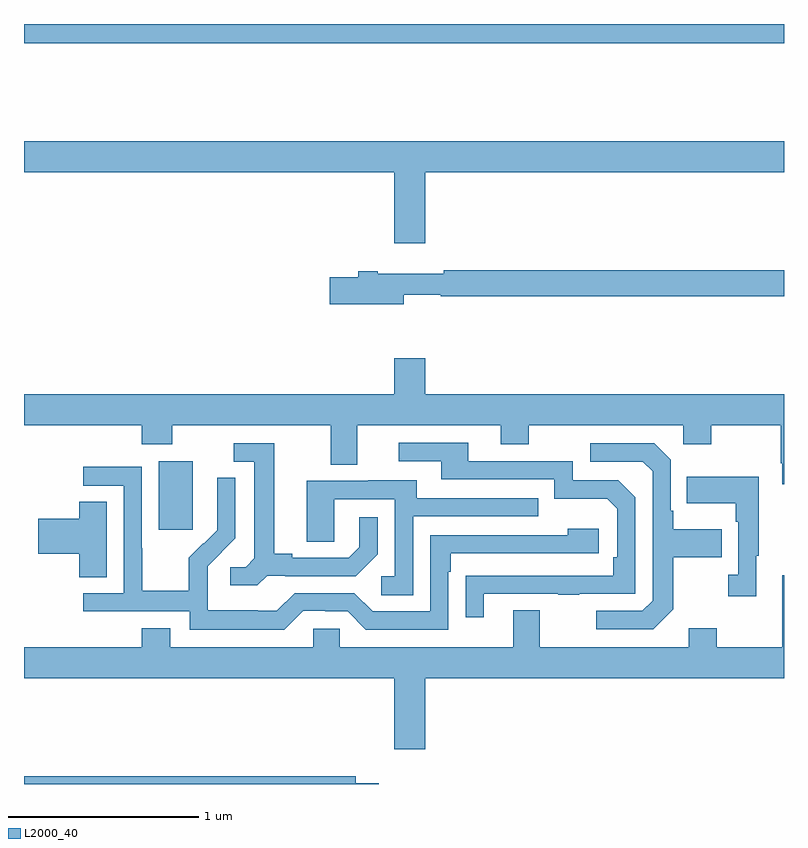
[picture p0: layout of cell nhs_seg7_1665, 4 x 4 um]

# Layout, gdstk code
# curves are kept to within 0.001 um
import gdstk
lib = gdstk.Library(unit=1e-6, precision=1e-09)
def R(c, l, rs):  # rectangles x0, y0, x1, y1
    for r in rs: c.add(gdstk.rectangle(r[:2], r[2:], *l))
def P(c, l, *ps):  # polygons
    for p in ps: c.add(gdstk.Polygon(p, *l))
L2000_40 = (2000, 40)

nhs_seg7_1665 = lib.new_cell('nhs_seg7_1665')
R(nhs_seg7_1665, L2000_40, [(223.709,1061.337,223.888,1061.698), (223,1063.9,227,1064)])
P(nhs_seg7_1665, L2000_40, [(225.112,1063.22),(227,1063.22),(227,1063.384),(223,1063.384),(223,1063.22),(224.948,1063.22),(224.948,1062.846),(225.112,1062.846)],
  [(224.998,1062.576),(225.194,1062.576),(225.194,1062.568),(227,1062.568),(227,1062.704),(225.208,1062.704),(225.208,1062.685),(224.863,1062.685),(224.863,1062.698),(224.759,1062.698),(224.759,1062.668),(224.61,1062.668),(224.61,1062.526),(224.998,1062.526)],
  [(227,1062.052),(225.112,1062.052),(225.112,1062.241),(224.948,1062.241),(224.948,1062.052),(223,1062.052),(223,1061.888),(223.619,1061.888),(223.619,1061.789),(223.779,1061.789),(223.779,1061.888),(224.615,1061.888),(224.615,1061.68),(224.755,1061.68),(224.755,1061.888),(225.509,1061.888),(225.509,1061.789),(225.657,1061.789),(225.657,1061.888),(226.47,1061.888),(226.47,1061.789),(226.617,1061.789),(226.617,1061.888),(226.984,1061.888),(226.984,1061.689),(226.991,1061.689),(226.991,1061.577),(227,1061.577)],
  [(225.421,1061.001),(225.811,1061.001),(225.811,1060.996),(225.923,1060.996),(225.923,1061.001),(226.218,1061.001),(226.218,1061.508),(226.128,1061.598),(225.888,1061.598),(225.888,1061.7),(225.337,1061.7),(225.337,1061.796),(224.973,1061.796),(224.973,1061.7),(225.197,1061.7),(225.197,1061.604),(225.792,1061.604),(225.792,1061.501),(226.069,1061.501),(226.122,1061.448),(226.122,1061.194),(226.102,1061.194),(226.102,1061.097),(225.325,1061.096),(225.325,1060.878),(225.421,1060.878)],
  [(226.417,1060.921),(226.417,1061.194),(226.673,1061.194),(226.673,1061.341),(226.417,1061.341),(226.417,1061.437),(226.404,1061.437),(226.404,1061.706),(226.317,1061.793),(225.981,1061.793),(225.981,1061.697),(226.257,1061.697),(226.308,1061.646),(226.308,1060.965),(226.254,1060.911),(226.011,1060.911),(226.011,1060.815),(226.311,1060.815)],
  [(224.28,1061.097),(224.374,1061.097),(224.374,1061.094),(224.746,1061.094),(224.862,1061.21),(224.862,1061.404),(224.765,1061.404),(224.765,1061.247),(224.708,1061.19),(224.413,1061.19),(224.413,1061.213),(224.317,1061.213),(224.317,1061.793),(224.103,1061.793),(224.103,1061.697),(224.213,1061.697),(224.213,1061.189),(224.166,1061.142),(224.085,1061.142),(224.085,1061.045),(224.228,1061.045)],
  [(224.469,1060.911),(224.585,1060.911),(224.585,1060.908),(224.703,1060.908),(224.799,1060.812),(225.234,1060.812),(225.234,1061.117),(225.247,1061.117),(225.247,1061.214),(226.024,1061.214),(226.024,1061.344),(225.863,1061.344),(225.863,1061.31),(225.138,1061.31),(225.138,1060.908),(224.835,1060.908),(224.739,1061.004),(224.424,1061.004),(224.331,1060.911),(224.231,1060.911),(224.231,1060.915),(223.968,1060.915),(223.968,1061.049),(223.966,1061.049),(223.966,1061.146),(224.112,1061.294),(224.112,1061.612),(224.016,1061.612),(224.016,1061.458),(224.018,1061.458),(224.018,1061.336),(223.947,1061.265),(223.944,1061.268),(223.867,1061.191),(223.867,1061.017),(223.623,1061.017),(223.623,1061.24),(223.62,1061.24),(223.62,1061.67),(223.311,1061.67),(223.311,1061.571),(223.524,1061.571),(223.524,1061.004),(223.311,1061.004),(223.311,1060.908),(223.872,1060.908),(223.872,1060.811),(224.369,1060.811)],
  [(226.855,1061.201),(226.867,1061.201),(226.867,1061.617),(226.489,1061.617),(226.489,1061.477),(226.746,1061.477),(226.746,1061.381),(226.758,1061.381),(226.758,1061.102),(226.707,1061.102),(226.707,1060.989),(226.855,1060.989)],
  [(225.048,1061.409),(225.707,1061.409),(225.707,1061.505),(225.067,1061.505),(225.067,1061.599),(224.813,1061.599),(224.813,1061.595),(224.489,1061.595),(224.489,1061.275),(224.634,1061.275),(224.634,1061.499),(224.952,1061.499),(224.952,1061.094),(224.88,1061.094),(224.88,1060.993),(225.048,1060.993)],
  [(223.435,1061.486),(223.292,1061.486),(223.292,1061.396),(223.074,1061.396),(223.074,1061.213),(223.292,1061.213),(223.292,1061.089),(223.435,1061.089)],
  [(225.112,1060.556),(227,1060.556),(227,1061.098),(226.991,1061.098),(226.991,1060.72),(226.647,1060.72),(226.647,1060.819),(226.499,1060.819),(226.499,1060.72),(225.715,1060.72),(225.715,1060.915),(225.575,1060.915),(225.575,1060.72),(224.661,1060.72),(224.661,1060.818),(224.523,1060.818),(224.523,1060.72),(223.771,1060.72),(223.771,1060.819),(223.619,1060.819),(223.619,1060.72),(223,1060.72),(223,1060.556),(224.948,1060.556),(224.948,1060.182),(225.112,1060.182)],
  [(224.868,1060.004),(224.746,1060.004),(224.746,1060.04),(223,1060.04),(223,1060),(224.868,1060)])

lib.write_gds('nhs_seg7_1665.gds')
